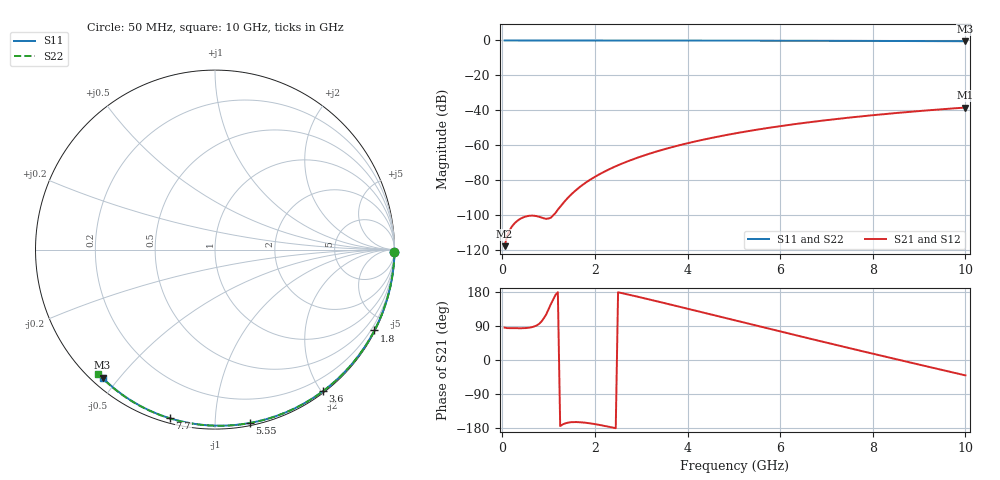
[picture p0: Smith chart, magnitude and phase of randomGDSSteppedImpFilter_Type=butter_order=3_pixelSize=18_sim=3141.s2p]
! freq	dB(S11)	phase(S11)	dB(S12)	phase(S12)
!  dB(S21)	phase(S21)	dB(S22)	phase(S22)
!S-par simulation data
#  GHz  S  DB  R 50
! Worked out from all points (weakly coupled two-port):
!   200 points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, 50 MHz to 10 GHz, reference 50 ohm
!   highest |S21| = -38.34 dB at 10 GHz (marker M1); lowest = -117.6 dB at 50 MHz (marker M2)
!   lowest |S11| = -0.4 dB at 10 GHz (marker M3), VSWR 39.09, Z = 1.54 - j22.6 ohm
!   |S11| at or under -10 dB: nowhere
!   |S22| runs from -0.4 to 0.0 dB; largest |S21 - S12| = 0
!   S11 on the Smith chart (normalised r, x): 50 MHz: open; 1.8 GHz: 0.04, -4.18; 3.6 GHz: 0.02, -2.02; 5.55 GHz: 0.02, -1.22; 7.7 GHz: 0.02, -0.77; 10 GHz: 0.03, -0.45
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0.05  -0.00 -0.8  -117.57 85.6  -117.57 85.6  -0.00 -0.8
0.45  -0.01 -6.8  -101.13 83.9  -101.13 83.9  -0.01 -6.9
0.9  -0.02 -13.6  -101.67 110.8  -101.67 110.8  -0.02 -13.8
1.75  -0.03 -26.2  -82.23 -165.0  -82.23 -165.0  -0.03 -26.6
1.8  -0.03 -26.9  -81.30 -165.6  -81.30 -165.6  -0.03 -27.3
1.85  -0.04 -27.6  -80.41 -166.4  -80.41 -166.4  -0.04 -28.0
1.9  -0.04 -28.4  -79.55 -167.3  -79.55 -167.3  -0.04 -28.8
2.05  -0.04 -30.6  -77.17 -170.3  -77.17 -170.3  -0.04 -31.0
2.25  -0.04 -33.5  -74.37 -174.9  -74.37 -174.9  -0.04 -33.9
2.65  -0.05 -39.2  -69.67 174.6  -69.67 174.6  -0.05 -39.8
3  -0.06 -44.2  -66.26 164.8  -66.26 164.8  -0.06 -44.8
3.4  -0.07 -49.8  -62.93 153.2  -62.93 153.2  -0.07 -50.5
3.6  -0.07 -52.6  -61.44 147.3  -61.44 147.3  -0.07 -53.4
4.3  -0.09 -62.2  -56.93 126.4  -56.93 126.4  -0.09 -63.0
5.05  -0.11 -72.1  -53.01 103.9  -53.01 103.9  -0.11 -73.1
5.55  -0.13 -78.6  -50.78 88.9  -50.78 88.9  -0.13 -79.7
6.1  -0.15 -85.5  -48.60 72.5  -48.60 72.5  -0.15 -86.7
6.7  -0.18 -92.9  -46.50 54.7  -46.50 54.7  -0.18 -94.2
7.7  -0.24 -104.9  -43.51 25.3  -43.51 25.3  -0.24 -106.4
8.35  -0.29 -112.5  -41.85 6.5  -41.85 6.5  -0.29 -114.1
9.15  -0.36 -121.7  -40.03 -16.4  -40.03 -16.4  -0.36 -123.4
10  -0.44 -131.3  -38.34 -40.6  -38.34 -40.6  -0.45 -133.1
